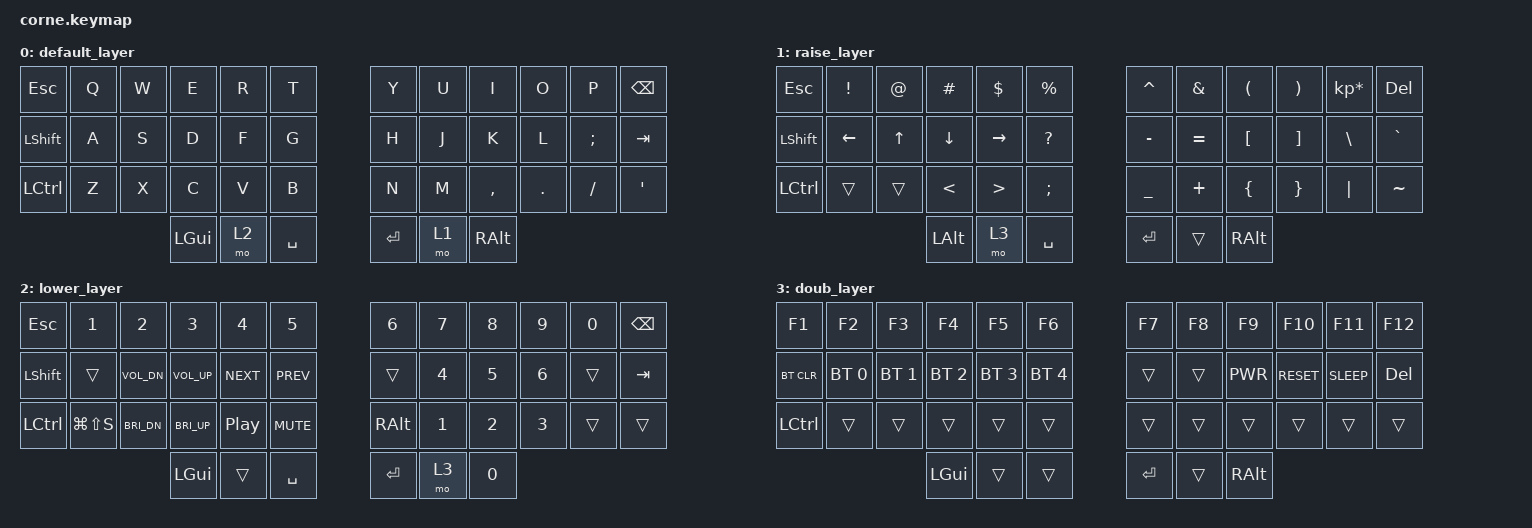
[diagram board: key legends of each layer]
/*
 * Copyright (c) 2020 The ZMK Contributors
 *
 * SPDX-License-Identifier: MIT
 */

#include <behaviors.dtsi>
#include <dt-bindings/zmk/bt.h>
#include <dt-bindings/zmk/keys.h>

/ {
    keymap {
        compatible = "zmk,keymap";

        default_layer {
            // -----------------------------------------------------------------------------------------
            // | ESC  |  Q  |  W  |  E  |  R  |  T  |   |  Y  |  U   |  I  |  O  |  P  | BKSP |
            // | SHFT |  A  |  S  |  D  |  F  |  G  |   |  H  |  J   |  K  |  L  |  ;  |  TAB |
            // | CTRL |  Z  |  X  |  C  |  V  |  B  |   |  N  |  M   |  ,  |  .  |  /  |   '  |
            //                    | GUI | LWR | SPC |   | ENT | RSE  | ALT |

            bindings = <
&kp ESC    &kp Q  &kp W  &kp E     &kp R  &kp T        &kp Y    &kp U  &kp I      &kp O    &kp P     &kp BSPC
&kp LSHFT  &kp A  &kp S  &kp D     &kp F  &kp G        &kp H    &kp J  &kp K      &kp L    &kp SEMI  &kp TAB
&kp LCTRL  &kp Z  &kp X  &kp C     &kp V  &kp B        &kp N    &kp M  &kp COMMA  &kp DOT  &kp FSLH  &kp SQT
                         &kp LGUI  &mo 2  &kp SPACE    &kp RET  &mo 1  &kp RALT
            >;
        };

        raise_layer {
            // -----------------------------------------------------------------------------------------
            // |  ESC |  !  |  7  |  8  |  9  |  %  |   |  ^  |  &  |  *  |  (  |  )  | BKSP |
            // | SHFT |  @  |  4  |  5  |  6  |  #  |   |  -  |  =  |  [  |  ]  |  \  |  `   |
            // | CTRL |     |  1  |  2  |  3  |  $  |   |  _  |  +  |  {  |  }  | "|" |  ~   |
            //                    |  0  | DBL | SPC |   | ENT |     | ALT |

            bindings = <
&kp ESC    &kp EXCL        &kp AT        &kp POUND     &kp DLLR          &kp PRCNT        &kp CARET  &kp AMPS   &kp LEFT_PARENTHESIS  &kp RIGHT_PARENTHESIS  &kp KP_MULTIPLY  &kp DELETE
&kp LSHFT  &kp LEFT_ARROW  &kp UP_ARROW  &kp DOWN      &kp RIGHT         &kp QMARK        &kp MINUS  &kp EQUAL  &kp LBKT              &kp RBKT               &kp BSLH         &kp GRAVE
&kp LCTRL  &trans          &trans        &kp LT        &kp GREATER_THAN  &kp SEMICOLON    &kp UNDER  &kp PLUS   &kp LBRC              &kp RBRC               &kp PIPE         &kp TILDE
                                         &kp LEFT_ALT  &mo 3             &kp SPACE        &kp RET    &trans     &kp RALT
            >;
        };

        lower_layer {
            // -----------------------------------------------------------------------------------------
            // |  ESC |  1  |  2  |  3  |  4  |  5  |   |  6  |  7  |  8  |  9  |  0  | BKSP |
            // | SHFT |     | VOL-| VOL+|BCKTR|FWDTR|   |     | LFT | DWN | UP  |RGHT | TAB  |
            // | CTRL | S/S |BRGT-|BRGT+| P/P | MUTE|   |     |     |     |     |     |      |
            //                    | GUI |     | SPC |   | ENT | DBL | ALT |

            bindings = <
&kp ESC    &kp N1         &kp N2        &kp N3        &kp N4      &kp N5        &kp N6         &kp N7        &kp N8        &kp N9        &kp N0  &kp BACKSPACE
&kp LSHFT  &trans         &kp C_VOL_DN  &kp C_VOL_UP  &kp C_NEXT  &kp C_PREV    &trans         &kp NUMBER_4  &kp N5        &kp NUMBER_6  &trans  &kp TAB
&kp LCTRL  &kp LG(LS(S))  &kp C_BRI_DN  &kp C_BRI_UP  &kp C_PP    &kp C_MUTE    &kp RIGHT_ALT  &kp NUMBER_1  &kp NUMBER_2  &kp NUMBER_3  &trans  &trans
                                        &kp LGUI      &trans      &kp SPACE     &kp RET        &mo 3         &kp N0
            >;
        };

        doub_layer {
            //                      .-------------------------------------------------.              .-------------------------------------------------.
            //                      |  F1   |  F2   |  F3   |  F4   |  F5   |  F6   |||              |||  F7   |  F8   |  F9   |  F10  |  F11  |  F12  |
            //                      | BTCLR |  BT1  |  BT2  |  BT3  |  BT4  |  BT5  |||              |||       |       |  PWR  |  RST  |  SLP  |  DLT  |
            //                      | CTRL  |       |       |       |       |       |||              |||       |       |       |       |       |       |
            //                      `----------------------.|  GUI  |       |  SPC  |||              |||  ENT  |       |  ALT  |.----------------------`
            //                                              `-------------------------`              `-------------------------`

            bindings = <
&kp F1      &kp F2        &kp F3        &kp F4        &kp F5        &kp F6          &kp F7   &kp F8  &kp F9     &kp F10      &kp F11      &kp F12
&bt BT_CLR  &bt BT_SEL 0  &bt BT_SEL 1  &bt BT_SEL 2  &bt BT_SEL 3  &bt BT_SEL 4    &trans   &trans  &kp C_PWR  &kp C_RESET  &kp C_SLEEP  &kp DEL
&kp LCTRL   &trans        &trans        &trans        &trans        &trans          &trans   &trans  &trans     &trans       &trans       &trans
                                        &kp LGUI      &trans        &trans          &kp RET  &trans  &kp RALT
            >;
        };
    };
};

//      .-------------------------------------------------.              .-------------------------------------------------.
//      |       |       |       |       |       |       |||              |||       |       |       |       |       |       |
//      |       |       |       |       |       |       |||              |||       |       |       |       |       |       |
//      |       |       |       |       |       |       |||              |||       |       |       |       |       |       |
//      `----------------------.|       |       |       |||              |||       |       |       |.----------------------`
//                              `-------------------------`              `-------------------------`
